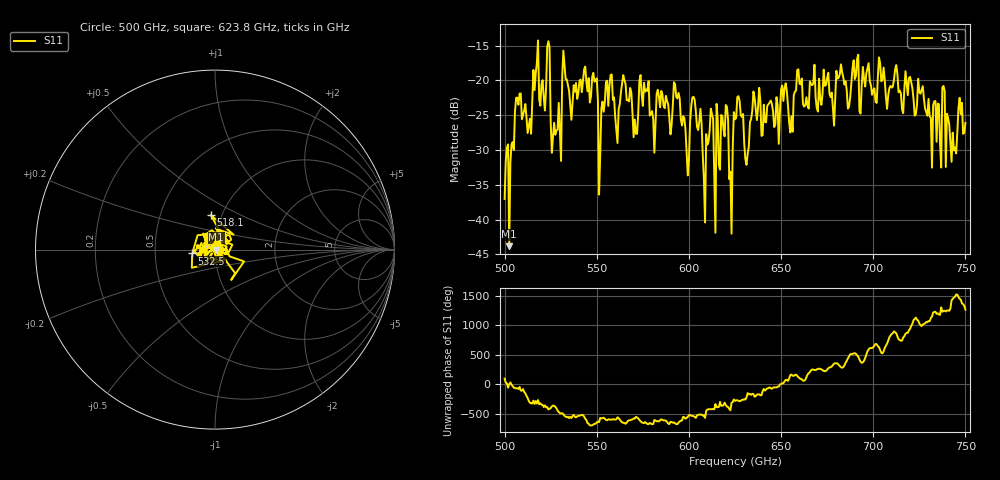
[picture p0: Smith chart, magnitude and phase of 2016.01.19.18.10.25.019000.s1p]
!Created with skrf (http://scikit-rf.org).
# GHz S RI R 50.0
!freq ReS11 ImS11
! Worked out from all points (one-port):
!   401 points, 500 GHz to 750 GHz, reference 50 ohm
!   lowest |S11| = -43.8 dB at 502.5 GHz (marker M1), VSWR 1.01, Z = 50.6 + j0.0519 ohm
!   |S11| at or under -10 dB: start of sweep to end of sweep
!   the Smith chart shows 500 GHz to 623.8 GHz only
!   S11 on the Smith chart (normalised r, x): 500 GHz: 1.00, +0.03; 518.1 GHz: 0.89, +0.36; 532.5 GHz: 0.77, -0.03; 623.8 GHz: 1.03, +0.06
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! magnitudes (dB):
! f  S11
! 500 GHz  -37.0
! 502.5 GHz  -43.8
! 506.9 GHz  -22.5
! 513.1 GHz  -26.5
! 518.1 GHz  -14.2
! 523.8 GHz  -14.4
! 526.9 GHz  -26.1
! 531.2 GHz  -19.5
! 532.5 GHz  -17.8
! 548.8 GHz  -20.2
! 552.5 GHz  -24.0
! 556.2 GHz  -23.6
! 562.5 GHz  -23.4
! 593.8 GHz  -22.6
! 598.8 GHz  -30.4
! 602.5 GHz  -22.3
! 608.8 GHz  -40.4
! 611.9 GHz  -24.0
! 623.8 GHz  -29.9
! 625 GHz  -25.6
! 631.2 GHz  -32.1
! 635 GHz  -21.6
! 656.2 GHz  -27.4
! 660 GHz  -20.5
! 687.5 GHz  -22.4
! 718.8 GHz  -22.1
! 743.8 GHz  -30.1
! 750 GHz  -26.1
